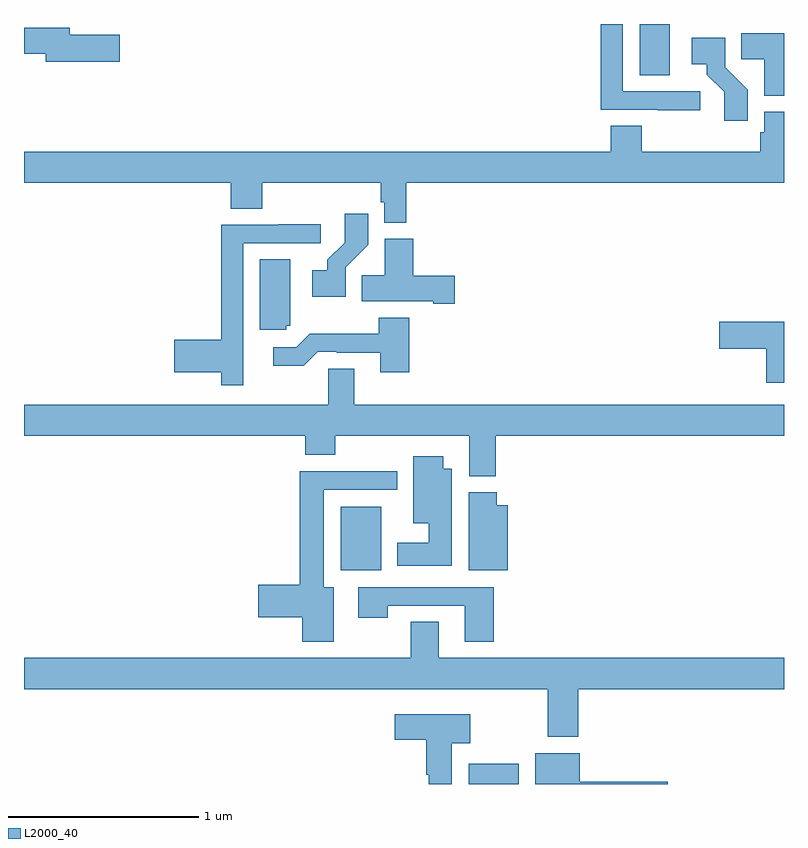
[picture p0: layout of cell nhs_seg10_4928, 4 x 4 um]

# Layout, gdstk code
import gdstk
lib = gdstk.Library(unit=1e-6, precision=1e-09)
def R(c, l, rs):  # rectangles x0, y0, x1, y1
    for r in rs: c.add(gdstk.rectangle(r[:2], r[2:], *l))
def P(c, l, *ps):  # polygons
    for p in ps: c.add(gdstk.Polygon(p, *l))
L2000_40 = (2000, 40)

nhs_seg10_4928 = lib.new_cell('nhs_seg10_4928')
R(nhs_seg10_4928, L2000_40, [(397.34,1282.5,397.603,1282.606), (396.668,1283.624,396.88,1283.959), (398.24,1286.23,398.398,1286.5)])
P(nhs_seg10_4928, L2000_40, [(398.56,1286.145),(398.151,1286.145),(398.151,1286.5),(398.035,1286.5),(398.035,1286.049),(398.335,1286.049),(398.335,1286.047),(398.56,1286.047)],
  [(395.503,1286.444),(395.242,1286.444),(395.242,1286.48),(395,1286.48),(395,1286.344),(395.114,1286.344),(395.114,1286.302),(395.503,1286.302)],
  [(399,1286.452),(398.776,1286.452),(398.776,1286.314),(398.897,1286.314),(398.897,1286.123),(399,1286.123)],
  [(398.81,1286.154),(398.691,1286.273),(398.691,1286.428),(398.514,1286.428),(398.514,1286.288),(398.594,1286.288),(398.594,1286.233),(398.685,1286.143),(398.685,1285.992),(398.81,1285.992)],
  [(397.013,1285.664),(399,1285.664),(399,1286.038),(398.895,1286.038),(398.895,1285.929),(398.875,1285.929),(398.875,1285.828),(398.252,1285.828),(398.252,1285.964),(398.087,1285.964),(398.087,1285.828),(395,1285.828),(395,1285.664),(396.089,1285.664),(396.089,1285.528),(396.254,1285.528),(396.254,1285.664),(396.877,1285.664),(396.877,1285.563),(396.897,1285.563),(396.897,1285.454),(397.013,1285.454)],
  [(396.693,1285.219),(396.812,1285.338),(396.812,1285.501),(396.687,1285.501),(396.687,1285.349),(396.596,1285.259),(396.596,1285.204),(396.516,1285.204),(396.516,1285.064),(396.693,1285.064)],
  [(396.154,1284.822),(396.153,1284.822),(396.153,1285.347),(396.562,1285.347),(396.562,1285.446),(396.337,1285.446),(396.337,1285.443),(396.037,1285.443),(396.037,1284.839),(395.79,1284.839),(395.79,1284.668),(396.037,1284.668),(396.037,1284.6),(396.154,1284.6)],
  [(397.267,1285.175),(397.049,1285.175),(397.049,1285.369),(396.899,1285.369),(396.899,1285.178),(396.778,1285.178),(396.778,1285.04),(397.154,1285.04),(397.154,1285.028),(397.267,1285.028)],
  [(396.381,1284.912),(396.4,1284.912),(396.4,1285.261),(396.242,1285.261),(396.242,1284.891),(396.381,1284.891)],
  [(397.028,1284.955),(396.868,1284.955),(396.868,1284.871),(396.505,1284.871),(396.432,1284.798),(396.312,1284.798),(396.312,1284.701),(396.473,1284.701),(396.546,1284.774),(396.646,1284.774),(396.646,1284.771),(396.875,1284.771),(396.875,1284.666),(397.028,1284.666)],
  [(399,1284.932),(398.658,1284.932),(398.658,1284.79),(398.906,1284.79),(398.906,1284.611),(399,1284.611)],
  [(397.484,1284.332),(399,1284.332),(399,1284.496),(396.739,1284.496),(396.739,1284.686),(396.6,1284.686),(396.6,1284.496),(395,1284.496),(395,1284.332),(396.479,1284.332),(396.479,1284.233),(396.639,1284.233),(396.639,1284.332),(397.343,1284.332),(397.343,1284.121),(397.484,1284.121)],
  [(397.252,1284.16),(397.207,1284.16),(397.207,1284.226),(397.049,1284.226),(397.049,1283.873),(397.13,1283.873),(397.13,1283.77),(396.965,1283.77),(396.965,1283.648),(397.252,1283.648)],
  [(396.631,1283.536),(396.577,1283.536),(396.577,1284.048),(396.964,1284.048),(396.964,1284.146),(396.452,1284.146),(396.452,1283.549),(396.234,1283.549),(396.234,1283.378),(396.464,1283.378),(396.464,1283.25),(396.631,1283.25)],
  [(397.546,1283.968),(397.487,1283.968),(397.487,1284.036),(397.34,1284.036),(397.34,1283.624),(397.546,1283.624)],
  [(397.472,1283.535),(396.759,1283.535),(396.759,1283.376),(396.915,1283.376),(396.915,1283.439),(397.319,1283.439),(397.319,1283.25),(397.472,1283.25)],
  [(397.916,1283),(399,1283),(399,1283.164),(397.183,1283.164),(397.183,1283.354),(397.036,1283.354),(397.036,1283.164),(395,1283.164),(395,1283),(397.756,1283),(397.756,1282.748),(397.916,1282.748)],
  [(397.252,1282.715),(397.348,1282.715),(397.348,1282.867),(396.951,1282.867),(396.951,1282.733),(397.118,1282.733),(397.118,1282.549),(397.13,1282.549),(397.13,1282.5),(397.252,1282.5)],
  [(398.389,1282.511),(397.924,1282.511),(397.924,1282.663),(397.691,1282.663),(397.691,1282.5),(398.389,1282.5)])

lib.write_gds('nhs_seg10_4928.gds')
